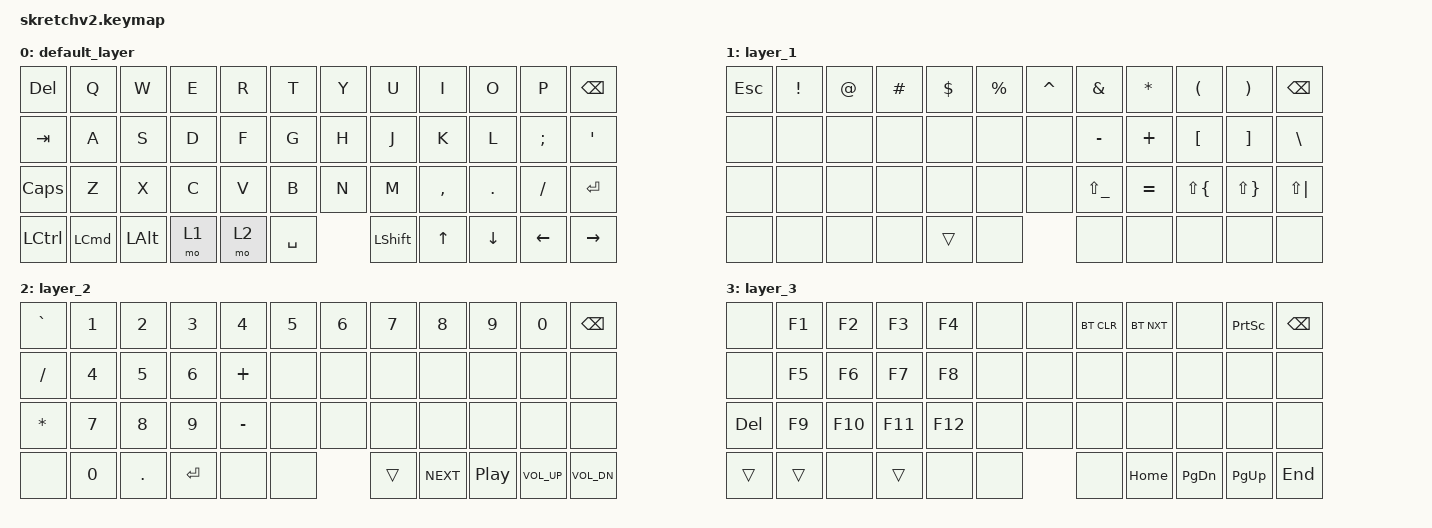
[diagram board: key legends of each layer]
#include <behaviors.dtsi>
#include <dt-bindings/zmk/bt.h>
#include <dt-bindings/zmk/keys.h>

/ {
    keymap {
        compatible = "zmk,keymap";

        default_layer {
            bindings = <
&kp DEL    &kp Q             &kp W         &kp E  &kp R  &kp T      &kp Y  &kp U           &kp I      &kp O     &kp P     &kp BSPC
&kp TAB    &kp A             &kp S         &kp D  &kp F  &kp G      &kp H  &kp J           &kp K      &kp L     &kp SEMI  &kp SQT
&kp CAPS   &kp Z             &kp X         &kp C  &kp V  &kp B      &kp N  &kp M           &kp COMMA  &kp DOT   &kp FSLH  &kp RET
&kp LCTRL  &kp LEFT_COMMAND  &kp LEFT_ALT  &mo 1  &mo 2  &kp SPACE         &kp LEFT_SHIFT  &kp UP     &kp DOWN  &kp LEFT  &kp RIGHT
            >;
        };

        layer_1 {
            bindings = <
&kp ESCAPE  &kp EXCL  &kp AT  &kp HASH  &kp DLLR  &kp PRCNT  &kp CARET  &kp AMPS       &kp STAR   &kp LPAR      &kp RPAR      &kp BACKSPACE
&none       &none     &none   &none     &none     &none      &none      &kp MINUS      &kp PLUS   &kp LBKT      &kp RBKT      &kp BSLH
&none       &none     &none   &none     &none     &none      &none      &kp LS(UNDER)  &kp EQUAL  &kp LS(LBRC)  &kp LS(RBRC)  &kp LS(PIPE)
&none       &none     &none   &none     &trans    &none                 &none          &none      &none         &none         &none
            >;
        };

        layer_2 {
            bindings = <
&kp GRAVE  &kp N1  &kp N2   &kp N3     &kp N4     &kp N5  &kp N6  &kp N7  &kp N8      &kp N9    &kp N0        &kp BACKSPACE
&kp SLASH  &kp N4  &kp N5   &kp N6     &kp PLUS   &none   &none   &none   &none       &none     &none         &none
&kp STAR   &kp N7  &kp N8   &kp N9     &kp MINUS  &none   &none   &none   &none       &none     &none         &none
&none      &kp N0  &kp DOT  &kp ENTER  &none      &none           &trans  &kp C_NEXT  &kp C_PP  &kp C_VOL_UP  &kp C_VOL_DN
            >;
        };

        layer_3 {
            bindings = <
&none    &kp F1  &kp F2   &kp F3   &kp F4   &none  &none  &bt BT_CLR  &bt BT_NXT  &none      &kp PSCRN  &kp BACKSPACE
&none    &kp F5  &kp F6   &kp F7   &kp F8   &none  &none  &none       &none       &none      &none      &none
&kp DEL  &kp F9  &kp F10  &kp F11  &kp F12  &none  &none  &none       &none       &none      &none      &none
&trans   &trans  &none    &trans   &none    &none         &none       &kp HOME    &kp PG_DN  &kp PG_UP  &kp END
            >;
        };
    };
};
